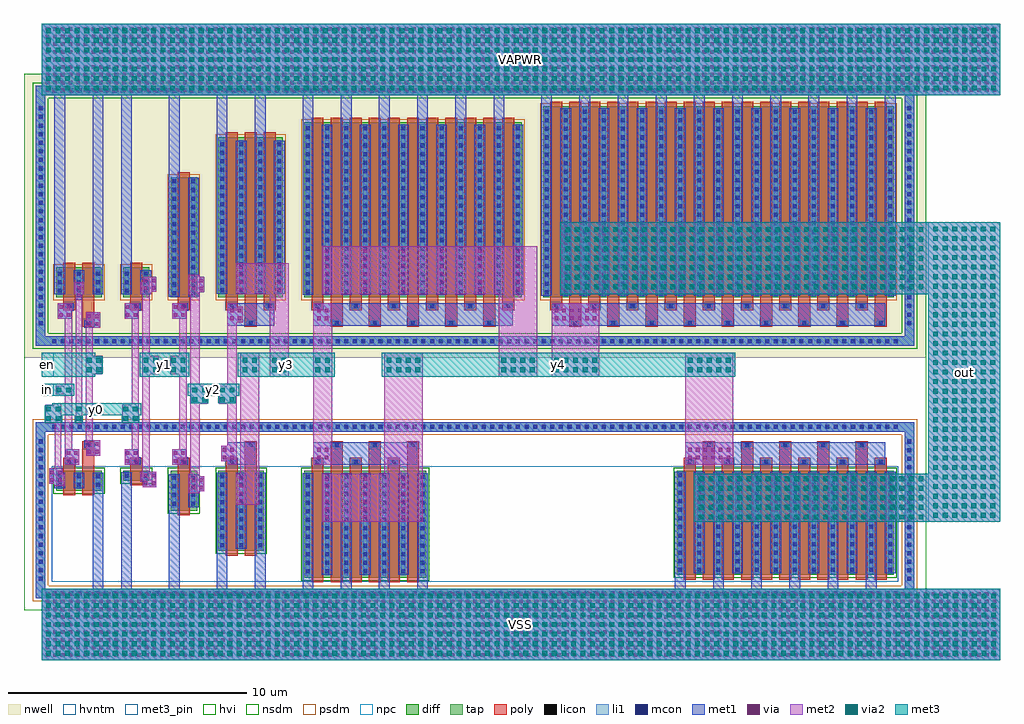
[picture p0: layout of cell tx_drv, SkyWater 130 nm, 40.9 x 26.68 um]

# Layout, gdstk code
import gdstk
lib = gdstk.Library(unit=1e-6, precision=1e-09)
def R(c, l, rs):  # rectangles x0, y0, x1, y1
    for r in rs: c.add(gdstk.rectangle(r[:2], r[2:], *l))
def A(c, l, x, y, w, h, nx, ny, dx, dy):  # array of equal rectangles
    R(c, l, [(x+i*dx, y+j*dy, x+i*dx+w, y+j*dy+h) for i in range(nx) for j in range(ny)])
def P(c, l, *ps):  # polygons
    for p in ps: c.add(gdstk.Polygon(p, *l))
nwell = (64, 20)
diff = (65, 20)
tap = (65, 44)
poly = (66, 20)
licon = (66, 44)
li1 = (67, 20)
mcon = (67, 44)
met1 = (68, 20)
via = (68, 44)
met2 = (69, 20)
via2 = (69, 44)
met3_pin = (70, 16)
met3 = (70, 20)
hvi = (75, 20)
nsdm = (93, 44)
psdm = (94, 20)
npc = (95, 20)
hvntm = (125, 20)

tx_drv = lib.new_cell('tx_drv')
R(tx_drv, nwell, [(-0.75,1.1,37.05,13), (0.135,2.05,2.965,5.43), (6.935,2.05,10.565,10.89), (10.535,2.05,20.565,11.5), (20.535,2.05,36.165,12.17), (2.935,2.75,4.965,5.43), (4.935,2.75,6.965,9.21)])
R(tx_drv, diff, [(11,-8.11,16.1,-3.63), (26.6,-7.995,35.7,-3.63), (7.4,-6.99,9.3,-3.63), (5.4,-5.31,6.5,-3.63), (0.6,-4.47,2.5,-3.63), (3.4,-4.05,4.5,-3.63), (0.6,3.63,2.5,4.89), (3.4,3.63,4.5,4.89), (5.4,3.63,6.5,8.67), (7.4,3.63,10.1,10.35), (11,3.63,20.1,10.96), (21,3.63,35.7,11.63)])
P(tx_drv, tap, [(-0.25,1.6),(-0.25,12.1),(0.15,12.1),(0.15,2),(36.15,2),(36.15,12.1),(-0.25,12.1),(-0.25,12.5),(36.55,12.5),(36.55,1.6)],
  [(-0.25,-8.98),(-0.25,-2),(0.15,-2),(0.15,-8.58),(36.15,-8.58),(36.15,-2),(-0.25,-2),(-0.25,-1.6),(36.55,-1.6),(36.55,-8.98)])
A(tx_drv, poly, 11.3, -8.31, 0.5, 4.88, 3, 1, 1.6, 0)
A(tx_drv, poly, 12.1, -8.31, 0.5, 5.58, 3, 1, 1.6, 0)
A(tx_drv, poly, 26.9, -8.195, 0.5, 4.765, 6, 1, 1.6, 0)
A(tx_drv, poly, 27.7, -8.195, 0.5, 5.465, 5, 1, 1.6, 0)
A(tx_drv, poly, 3.7, -3.43, 0.5, 0.33, 3, 2, 2, 6.53)
A(tx_drv, poly, 11.3, -3.43, 0.5, 0.33, 3, 1, 1.6, 0)
A(tx_drv, poly, 26.9, -3.43, 0.5, 0.33, 6, 1, 1.6, 0)
A(tx_drv, poly, 12.1, -2.73, 0.5, 0.33, 3, 1, 1.6, 0)
A(tx_drv, poly, 27.7, -2.73, 0.5, 0.33, 5, 1, 1.6, 0)
A(tx_drv, poly, 12.1, 2.4, 0.5, 0.33, 5, 1, 1.6, 0)
A(tx_drv, poly, 22.1, 2.4, 0.5, 0.33, 9, 1, 1.6, 0)
A(tx_drv, poly, 12.1, 2.73, 0.5, 8.43, 5, 1, 1.6, 0)
A(tx_drv, poly, 22.1, 2.73, 0.5, 9.1, 9, 1, 1.6, 0)
A(tx_drv, poly, 11.3, 3.1, 0.5, 0.33, 6, 1, 1.6, 0)
A(tx_drv, poly, 21.3, 3.1, 0.5, 0.33, 9, 1, 1.6, 0)
A(tx_drv, poly, 11.3, 3.43, 0.5, 7.73, 6, 1, 1.6, 0)
A(tx_drv, poly, 21.3, 3.43, 0.5, 8.4, 9, 1, 1.6, 0)
R(tx_drv, poly, [(7.7,-7.19,8.2,-3.43), (8.5,-7.19,9,-2.73), (5.7,-5.51,6.2,-3.43), (0.9,-4.67,1.4,-3.43), (1.7,-4.67,2.2,-2.73), (3.7,-4.25,4.2,-3.43), (0.9,-3.43,1.4,-3.1), (1.7,-2.73,2.2,-2.4), (8.5,-2.73,9,-2.4), (1.7,2.4,2.2,2.73), (8.5,2.4,9,2.73), (1.7,2.73,2.2,5.09), (8.5,2.73,9,10.55), (0.9,3.1,1.4,3.43), (9.3,3.1,9.8,3.43), (0.9,3.43,1.4,5.09), (3.7,3.43,4.2,5.09), (5.7,3.43,6.2,8.87), (7.7,3.43,8.2,10.55), (9.3,3.43,9.8,10.55)])
A(tx_drv, licon, 0.425, -8.865, 0.17, 0.17, 99, 2, 0.36, 6.98)
A(tx_drv, licon, -0.135, -8.255, 0.17, 0.17, 1, 17, 0, 0.36)
A(tx_drv, licon, 36.265, -8.255, 0.17, 0.17, 1, 17, 0, 0.36)
A(tx_drv, licon, 11.065, -7.935, 0.17, 0.17, 7, 12, 0.8, 0.36)
A(tx_drv, licon, 26.665, -7.875, 0.17, 0.17, 12, 12, 0.8, 0.36)
A(tx_drv, licon, 7.465, -6.835, 0.17, 0.17, 3, 9, 0.8, 0.36)
A(tx_drv, licon, 5.465, -5.095, 0.17, 0.17, 1, 4, 0, 0.36)
A(tx_drv, licon, 6.265, -5.095, 0.17, 0.17, 1, 4, 0, 0.36)
A(tx_drv, licon, 0.665, -4.315, 0.17, 0.17, 3, 2, 0.8, 0.36)
A(tx_drv, licon, 3.865, -3.35, 0.17, 0.17, 3, 2, 2, 6.53)
A(tx_drv, licon, 11.465, -3.35, 0.17, 0.17, 3, 1, 1.6, 0)
A(tx_drv, licon, 27.065, -3.35, 0.17, 0.17, 6, 1, 1.6, 0)
A(tx_drv, licon, 12.265, -2.65, 0.17, 0.17, 3, 1, 1.6, 0)
A(tx_drv, licon, 27.865, -2.65, 0.17, 0.17, 5, 1, 1.6, 0)
A(tx_drv, licon, 0.425, 1.715, 0.17, 0.17, 99, 2, 0.36, 10.5)
A(tx_drv, licon, -0.135, 2.465, 0.17, 0.17, 1, 26, 0, 0.36)
A(tx_drv, licon, 36.265, 2.465, 0.17, 0.17, 1, 26, 0, 0.36)
A(tx_drv, licon, 12.265, 2.48, 0.17, 0.17, 5, 1, 1.6, 0)
A(tx_drv, licon, 22.265, 2.48, 0.17, 0.17, 9, 1, 1.6, 0)
A(tx_drv, licon, 11.465, 3.18, 0.17, 0.17, 6, 1, 1.6, 0)
A(tx_drv, licon, 21.465, 3.18, 0.17, 0.17, 9, 1, 1.6, 0)
A(tx_drv, licon, 5.465, 3.725, 0.17, 0.17, 1, 14, 0, 0.36)
A(tx_drv, licon, 6.265, 3.725, 0.17, 0.17, 1, 14, 0, 0.36)
A(tx_drv, licon, 21.065, 3.765, 0.17, 0.17, 19, 22, 0.8, 0.36)
A(tx_drv, licon, 11.065, 3.79, 0.17, 0.17, 12, 20, 0.8, 0.36)
A(tx_drv, licon, 0.665, 3.815, 0.17, 0.17, 3, 3, 0.8, 0.36)
A(tx_drv, licon, 3.465, 3.815, 0.17, 0.17, 1, 3, 0, 0.36)
A(tx_drv, licon, 4.265, 3.815, 0.17, 0.17, 1, 3, 0, 0.36)
A(tx_drv, licon, 7.465, 3.845, 0.17, 0.17, 4, 18, 0.8, 0.36)
R(tx_drv, licon, [(3.465,-3.925,3.635,-3.755), (4.265,-3.925,4.435,-3.755), (1.065,-3.35,1.235,-3.18), (1.865,-2.65,2.035,-2.48), (8.665,-2.65,8.835,-2.48), (1.865,2.48,2.035,2.65), (8.665,2.48,8.835,2.65), (1.065,3.18,1.235,3.35), (9.465,3.18,9.635,3.35)])
A(tx_drv, li1, 11.065, -8.015, 0.17, 4.29, 7, 1, 0.8, 0)
A(tx_drv, li1, 26.665, -7.955, 0.17, 4.29, 12, 1, 0.8, 0)
A(tx_drv, li1, 7.465, -6.915, 0.17, 3.21, 3, 1, 0.8, 0)
A(tx_drv, li1, 0.665, -4.395, 0.17, 0.69, 3, 1, 0.8, 0)
A(tx_drv, li1, 3.785, -3.35, 0.33, 0.17, 3, 2, 2, 6.53)
A(tx_drv, li1, 11.385, -3.35, 0.33, 0.17, 3, 1, 1.6, 0)
A(tx_drv, li1, 26.985, -3.35, 0.33, 0.17, 6, 1, 1.6, 0)
A(tx_drv, li1, 12.185, -2.65, 0.33, 0.17, 3, 1, 1.6, 0)
A(tx_drv, li1, 27.785, -2.65, 0.33, 0.17, 5, 1, 1.6, 0)
A(tx_drv, li1, 12.185, 2.48, 0.33, 0.17, 5, 1, 1.6, 0)
A(tx_drv, li1, 22.185, 2.48, 0.33, 0.17, 9, 1, 1.6, 0)
A(tx_drv, li1, 11.385, 3.18, 0.33, 0.17, 6, 1, 1.6, 0)
A(tx_drv, li1, 21.385, 3.18, 0.33, 0.17, 9, 1, 1.6, 0)
A(tx_drv, li1, 21.065, 3.685, 0.17, 7.89, 19, 1, 0.8, 0)
A(tx_drv, li1, 11.065, 3.71, 0.17, 7.17, 12, 1, 0.8, 0)
A(tx_drv, li1, 0.665, 3.735, 0.17, 1.05, 3, 1, 0.8, 0)
A(tx_drv, li1, 7.465, 3.765, 0.17, 6.45, 4, 1, 0.8, 0)
R(tx_drv, li1, [(5.465,-5.175,5.635,-3.765), (6.265,-5.175,6.435,-3.765), (3.465,-4.005,3.635,-3.675), (4.265,-4.005,4.435,-3.675), (0.985,-3.35,1.315,-3.18), (1.785,-2.65,2.115,-2.48), (8.585,-2.65,8.915,-2.48), (1.785,2.48,2.115,2.65), (8.585,2.48,8.915,2.65), (0.985,3.18,1.315,3.35), (9.385,3.18,9.715,3.35), (5.465,3.645,5.635,8.655), (6.265,3.645,6.435,8.655), (3.465,3.735,3.635,4.785), (4.265,3.735,4.435,4.785)])
P(tx_drv, li1, [(-0.25,1.6),(-0.25,12.1),(0.15,12.1),(0.15,2),(36.15,2),(36.15,12.1),(-0.25,12.1),(-0.25,12.5),(36.55,12.5),(36.55,1.6)],
  [(-0.25,-8.98),(-0.25,-2),(0.15,-2),(0.15,-8.58),(36.15,-8.58),(36.15,-2),(-0.25,-2),(-0.25,-1.6),(36.55,-1.6),(36.55,-8.98)])
A(tx_drv, mcon, 0.425, -8.865, 0.17, 0.17, 99, 2, 0.36, 6.98)
A(tx_drv, mcon, -0.135, -8.255, 0.17, 0.17, 1, 17, 0, 0.36)
A(tx_drv, mcon, 36.265, -8.255, 0.17, 0.17, 1, 17, 0, 0.36)
A(tx_drv, mcon, 11.065, -7.935, 0.17, 0.17, 7, 12, 0.8, 0.36)
A(tx_drv, mcon, 26.665, -7.875, 0.17, 0.17, 12, 12, 0.8, 0.36)
A(tx_drv, mcon, 7.465, -6.835, 0.17, 0.17, 3, 9, 0.8, 0.36)
A(tx_drv, mcon, 5.465, -5.095, 0.17, 0.17, 1, 4, 0, 0.36)
A(tx_drv, mcon, 6.265, -5.095, 0.17, 0.17, 1, 4, 0, 0.36)
A(tx_drv, mcon, 0.665, -4.315, 0.17, 0.17, 3, 2, 0.8, 0.36)
A(tx_drv, mcon, 3.865, -3.35, 0.17, 0.17, 3, 2, 2, 6.53)
A(tx_drv, mcon, 11.465, -3.35, 0.17, 0.17, 3, 1, 1.6, 0)
A(tx_drv, mcon, 27.065, -3.35, 0.17, 0.17, 6, 1, 1.6, 0)
A(tx_drv, mcon, 12.265, -2.65, 0.17, 0.17, 3, 1, 1.6, 0)
A(tx_drv, mcon, 27.865, -2.65, 0.17, 0.17, 5, 1, 1.6, 0)
A(tx_drv, mcon, 0.425, 1.715, 0.17, 0.17, 99, 2, 0.36, 10.5)
A(tx_drv, mcon, -0.135, 2.465, 0.17, 0.17, 1, 26, 0, 0.36)
A(tx_drv, mcon, 36.265, 2.465, 0.17, 0.17, 1, 26, 0, 0.36)
A(tx_drv, mcon, 12.265, 2.48, 0.17, 0.17, 5, 1, 1.6, 0)
A(tx_drv, mcon, 22.265, 2.48, 0.17, 0.17, 9, 1, 1.6, 0)
A(tx_drv, mcon, 11.465, 3.18, 0.17, 0.17, 6, 1, 1.6, 0)
A(tx_drv, mcon, 21.465, 3.18, 0.17, 0.17, 9, 1, 1.6, 0)
A(tx_drv, mcon, 5.465, 3.725, 0.17, 0.17, 1, 14, 0, 0.36)
A(tx_drv, mcon, 6.265, 3.725, 0.17, 0.17, 1, 14, 0, 0.36)
A(tx_drv, mcon, 21.065, 3.765, 0.17, 0.17, 19, 22, 0.8, 0.36)
A(tx_drv, mcon, 11.065, 3.79, 0.17, 0.17, 12, 20, 0.8, 0.36)
A(tx_drv, mcon, 0.665, 3.815, 0.17, 0.17, 3, 3, 0.8, 0.36)
A(tx_drv, mcon, 3.465, 3.815, 0.17, 0.17, 1, 3, 0, 0.36)
A(tx_drv, mcon, 4.265, 3.815, 0.17, 0.17, 1, 3, 0, 0.36)
A(tx_drv, mcon, 7.465, 3.845, 0.17, 0.17, 4, 18, 0.8, 0.36)
R(tx_drv, mcon, [(3.465,-3.925,3.635,-3.755), (4.265,-3.925,4.435,-3.755), (1.065,-3.35,1.235,-3.18), (1.865,-2.65,2.035,-2.48), (8.665,-2.65,8.835,-2.48), (1.865,2.48,2.035,2.65), (8.665,2.48,8.835,2.65), (1.065,3.18,1.235,3.35), (9.465,3.18,9.635,3.35)])
A(tx_drv, met1, 10.925, -8.98, 0.45, 5.235, 4, 1, 1.6, 0)
A(tx_drv, met1, 26.525, -8.98, 0.45, 5.295, 6, 1, 1.6, 0)
A(tx_drv, met1, 11.035, -7.995, 0.23, 4.25, 7, 1, 0.8, 0)
A(tx_drv, met1, 11.725, -7.995, 0.45, 4.25, 3, 1, 1.6, 0)
A(tx_drv, met1, 26.635, -7.935, 0.23, 4.25, 12, 1, 0.8, 0)
A(tx_drv, met1, 27.325, -7.935, 0.45, 4.25, 6, 1, 1.6, 0)
A(tx_drv, met1, 7.435, -6.895, 0.23, 3.17, 3, 1, 0.8, 0)
A(tx_drv, met1, 0.635, -4.375, 0.23, 0.65, 3, 1, 0.8, 0)
A(tx_drv, met1, 3.765, -3.38, 0.37, 0.23, 3, 2, 2, 6.53)
A(tx_drv, met1, 11.365, -3.38, 0.37, 0.23, 3, 1, 1.6, 0)
A(tx_drv, met1, 26.965, -3.38, 0.37, 0.23, 6, 1, 1.6, 0)
A(tx_drv, met1, 12.165, -2.68, 0.37, 0.23, 3, 1, 1.6, 0)
A(tx_drv, met1, 27.765, -2.68, 0.37, 0.23, 5, 1, 1.6, 0)
A(tx_drv, met1, 12.165, 2.45, 0.37, 0.23, 5, 1, 1.6, 0)
A(tx_drv, met1, 22.165, 2.45, 0.37, 0.23, 9, 1, 1.6, 0)
A(tx_drv, met1, 11.365, 3.15, 0.37, 0.23, 6, 1, 1.6, 0)
A(tx_drv, met1, 21.365, 3.15, 0.37, 0.23, 9, 1, 1.6, 0)
A(tx_drv, met1, 20.925, 3.705, 0.45, 8.795, 10, 1, 1.6, 0)
A(tx_drv, met1, 21.035, 3.705, 0.23, 7.85, 19, 1, 0.8, 0)
A(tx_drv, met1, 21.725, 3.705, 0.45, 7.85, 9, 1, 1.6, 0)
A(tx_drv, met1, 10.925, 3.73, 0.45, 8.77, 6, 1, 1.6, 0)
A(tx_drv, met1, 11.035, 3.73, 0.23, 7.13, 12, 1, 0.8, 0)
A(tx_drv, met1, 11.725, 3.73, 0.45, 7.13, 6, 1, 1.6, 0)
A(tx_drv, met1, 0.635, 3.755, 0.23, 1.01, 3, 1, 0.8, 0)
A(tx_drv, met1, 7.435, 3.785, 0.23, 6.41, 4, 1, 0.8, 0)
R(tx_drv, met1, [(0,-11.58,40.15,-8.58), (2.125,-8.98,2.575,-3.725), (3.325,-8.98,3.775,-3.695), (5.325,-8.98,5.775,-3.785), (7.325,-8.98,7.775,-3.725), (8.925,-8.98,9.375,-3.725), (8.125,-6.895,8.575,-3.725), (5.435,-5.155,5.665,-3.785), (6.125,-5.155,6.575,-3.785), (6.235,-5.155,6.465,-3.785), (6.575,-4.5,6.8,-3.86), (0.525,-4.375,0.975,-3.725), (1.325,-4.375,1.775,-3.725), (4.125,-4,4.575,-3.68), (3.405,-3.985,3.695,-3.695), (4.125,-3.985,4.575,-3.695), (4.205,-3.985,4.495,-3.695), (0.965,-3.38,1.335,-3.15), (0.965,-3.38,1.335,-3.06), (3.765,-3.38,4.135,-3.06), (5.765,-3.38,6.135,-3.06), (7.765,-3.38,8.935,-2.45), (11.365,-3.38,15.735,-2.45), (26.965,-3.38,35.335,-2.45), (7.515,-3.235,7.765,-2.595), (1.765,-2.68,2.135,-2.45), (1.765,-2.68,2.135,-2.36), (8.565,-2.68,8.935,-2.45), (1.765,2.36,2.135,2.68), (1.765,2.45,2.135,2.68), (7.765,2.45,9.735,3.38), (8.565,2.45,8.935,2.68), (11.365,2.45,19.735,3.38), (21.365,2.45,35.335,3.38), (0.965,3.06,1.335,3.38), (3.765,3.06,4.135,3.38), (5.765,3.06,6.135,3.38), (0.965,3.15,1.335,3.38), (9.365,3.15,9.735,3.38), (1.42,3.54,1.68,3.755), (5.325,3.665,5.775,12.5), (5.435,3.665,5.665,8.635), (6.125,3.665,6.575,8.635), (6.235,3.665,6.465,8.635), (0.525,3.755,0.975,12.5), (1.325,3.755,1.775,4.765), (2.125,3.755,2.575,12.5), (3.325,3.755,3.775,12.5), (3.435,3.755,3.665,4.765), (4.125,3.755,4.575,4.765), (4.235,3.755,4.465,4.765), (7.325,3.785,7.775,12.5), (8.125,3.785,8.575,10.195), (8.925,3.785,9.375,12.5), (9.725,3.785,10.175,10.195), (6.575,3.85,6.8,4.49), (4.575,3.86,4.8,4.5), (0,12.1,40.15,15.1)])
P(tx_drv, met1, [(-0.25,1.6),(-0.25,12.1),(0.15,12.1),(0.15,2),(36.15,2),(36.15,12.1),(-0.25,12.1),(-0.25,12.5),(36.55,12.5),(36.55,1.6)],
  [(-0.25,-8.98),(-0.25,-2),(0.15,-2),(0.15,-8.58),(36.15,-8.58),(36.15,-2),(-0.25,-2),(-0.25,-1.6),(36.55,-1.6),(36.55,-8.98)],
  [(0.3,-4.18),(0.3,-3.54),(0.88,-3.54),(0.88,-3.725),(0.525,-3.725),(0.525,-4.18)],
  [(4.22,-4.32),(4.22,-4),(4.575,-4),(4.575,-3.68),(4.8,-3.68),(4.8,-4.32)],
  [(1.335,-3.38),(1.335,-3.06),(0.985,-3.06),(0.985,-2.74),(1.565,-2.74),(1.565,-3.38)],
  [(3.465,-3.38),(3.465,-2.74),(4.045,-2.74),(4.045,-3.06),(3.765,-3.06),(3.765,-3.38)],
  [(5.465,-3.38),(5.465,-2.74),(6.045,-2.74),(6.045,-3.06),(5.765,-3.06),(5.765,-3.38)],
  [(1.855,-3),(1.855,-2.68),(2.135,-2.68),(2.135,-2.36),(2.435,-2.36),(2.435,-3)],
  [(2.135,2.36),(2.135,2.68),(1.855,2.68),(1.855,3),(2.435,3),(2.435,2.36)],
  [(0.665,2.74),(0.665,3.38),(0.965,3.38),(0.965,3.06),(1.245,3.06),(1.245,2.74)],
  [(3.465,2.74),(3.465,3.38),(3.765,3.38),(3.765,3.06),(4.045,3.06),(4.045,2.74)],
  [(5.465,2.74),(5.465,3.38),(5.765,3.38),(5.765,3.06),(6.045,3.06),(6.045,2.74)])
A(tx_drv, via, 0.16, -11.435, 0.15, 0.15, 125, 9, 0.32, 0.32)
A(tx_drv, via, 11.875, -5.645, 0.15, 0.15, 3, 6, 1.6, 0.32)
A(tx_drv, via, 27.475, -5.645, 0.15, 0.15, 6, 6, 1.6, 0.32)
A(tx_drv, via, 8.275, -4.975, 0.15, 0.15, 1, 4, 0, 0.32)
A(tx_drv, via, 27.09, -3.15, 0.15, 0.15, 6, 2, 0.32, 0.32)
A(tx_drv, via, 21.49, 2.68, 0.15, 0.15, 6, 2, 0.32, 0.32)
A(tx_drv, via, 8.275, 3.875, 0.15, 0.15, 1, 4, 0, 0.32)
A(tx_drv, via, 9.875, 3.875, 0.15, 0.15, 1, 4, 0, 0.32)
A(tx_drv, via, 11.875, 3.895, 0.15, 0.15, 6, 6, 1.6, 0.32)
A(tx_drv, via, 21.875, 3.915, 0.15, 0.15, 9, 9, 1.6, 0.32)
A(tx_drv, via, 0.16, 12.245, 0.15, 0.15, 125, 9, 0.32, 0.32)
R(tx_drv, via, [(6.275,-4.415,6.425,-4.265), (6.595,-4.415,6.745,-4.265), (4.275,-4.235,4.425,-4.085), (4.595,-4.235,4.745,-4.085), (0.355,-4.095,0.505,-3.945), (0.675,-4.095,0.825,-3.945), (6.275,-4.095,6.425,-3.945), (6.595,-4.095,6.745,-3.945), (4.275,-3.915,4.425,-3.765), (4.595,-3.915,4.745,-3.765), (0.355,-3.775,0.505,-3.625), (0.675,-3.775,0.825,-3.625), (1.04,-3.295,1.19,-3.145), (1.36,-3.295,1.51,-3.145), (3.52,-3.295,3.67,-3.145), (3.84,-3.295,3.99,-3.145), (5.52,-3.295,5.67,-3.145), (5.84,-3.295,5.99,-3.145), (7.57,-3.15,7.72,-3), (7.89,-3.15,8.04,-3), (11.53,-3.15,11.68,-3), (11.85,-3.15,12,-3), (1.04,-2.975,1.19,-2.825), (1.36,-2.975,1.51,-2.825), (3.52,-2.975,3.67,-2.825), (3.84,-2.975,3.99,-2.825), (5.52,-2.975,5.67,-2.825), (5.84,-2.975,5.99,-2.825), (1.91,-2.915,2.06,-2.765), (2.23,-2.915,2.38,-2.765), (7.57,-2.83,7.72,-2.68), (7.89,-2.83,8.04,-2.68), (11.53,-2.83,11.68,-2.68), (11.85,-2.83,12,-2.68), (1.91,-2.595,2.06,-2.445), (2.23,-2.595,2.38,-2.445), (1.91,2.445,2.06,2.595), (2.23,2.445,2.38,2.595), (7.89,2.68,8.04,2.83), (8.21,2.68,8.36,2.83), (11.53,2.68,11.68,2.83), (11.85,2.68,12,2.83), (1.91,2.765,2.06,2.915), (2.23,2.765,2.38,2.915), (0.72,2.825,0.87,2.975), (1.04,2.825,1.19,2.975), (3.52,2.825,3.67,2.975), (3.84,2.825,3.99,2.975), (5.52,2.825,5.67,2.975), (5.84,2.825,5.99,2.975), (7.89,3,8.04,3.15), (8.21,3,8.36,3.15), (11.53,3,11.68,3.15), (11.85,3,12,3.15), (0.72,3.145,0.87,3.295), (1.04,3.145,1.19,3.295), (3.52,3.145,3.67,3.295), (3.84,3.145,3.99,3.295), (5.52,3.145,5.67,3.295), (5.84,3.145,5.99,3.295), (1.475,3.625,1.625,3.775), (6.275,3.935,6.425,4.085), (6.595,3.935,6.745,4.085), (1.475,3.945,1.625,4.095), (4.275,3.945,4.425,4.095), (4.595,3.945,4.745,4.095), (6.275,4.255,6.425,4.405), (6.595,4.255,6.745,4.405), (4.275,4.265,4.425,4.415), (4.595,4.265,4.745,4.415)])
R(tx_drv, met2, [(0,-11.58,40.15,-8.58), (11.725,-5.77,15.95,-3.77), (27.325,-5.77,37.15,-3.77), (37.15,-5.77,40.15,6.77), (8.125,-5.07,9.11,-3.77), (6.125,-4.57,6.61,-3.77), (6.61,-4.5,6.8,-3.86), (0.525,-4.27,0.975,-3.77), (4.125,-4.09,4.575,-3.68), (0.54,-3.77,0.82,-0.8), (0.82,-3.77,0.88,-3.54), (6.21,-3.77,6.61,0), (8.31,-3.77,9.11,1.3), (14.35,-3.77,15.95,1.3), (4.21,-3.68,4.51,1.3), (0.965,-3.38,1.265,0), (1.265,-3.38,1.565,-2.74), (3.465,-3.38,3.765,-2.74), (3.765,-3.38,4.065,-0.8), (5.465,-3.38,5.765,-2.74), (5.765,-3.38,6.065,1.3), (7.765,-3.38,8.165,0), (11.365,-3.38,12.165,1.3), (26.965,-3.38,28.965,1.3), (7.515,-3.235,7.765,-2.595), (1.835,-2.68,2.135,1.3), (0.14,-1.635,0.54,-0.865), (1.41,-1.635,1.69,-1.3), (3.375,-1.635,3.765,-0.865), (1.41,-1.3,1.69,3.77), (3.765,-1.3,4.065,3.38), (6.61,-0.835,6.95,-0.065), (7.425,-0.835,7.765,-0.065), (0.965,-0.5,1.265,3.38), (6.21,-0.5,6.61,3.77), (7.765,-0.5,8.165,3.38), (0.575,-0.435,0.965,-0.065), (1.835,0.3,2.135,2.68), (4.21,0.3,4.51,3.77), (5.765,0.3,6.065,3.38), (9.55,0.3,10.35,3.77), (11.365,0.3,12.165,3.38), (19.15,0.3,20.75,3.77), (21.365,0.3,23.365,3.38), (2.135,0.415,2.525,1.185), (4.51,0.415,4.9,1.185), (5.375,0.415,5.765,1.185), (8.165,2.595,8.415,3.235), (0.665,2.74,0.965,3.38), (3.465,2.74,3.765,3.38), (5.465,2.74,5.765,3.38), (1.325,3.77,1.775,4.27), (4.125,3.77,4.575,4.27), (6.125,3.77,6.61,4.57), (8.125,3.77,10.35,5.07), (11.725,3.77,20.75,5.77), (21.725,3.77,37.15,6.77), (6.61,3.85,6.8,4.49), (0,12.1,40.15,15.1)])
P(tx_drv, met2, [(0.3,-4.18),(0.3,-3.54),(0.54,-3.54),(0.54,-3.77),(0.525,-3.77),(0.525,-4.18)],
  [(4.22,-4.32),(4.22,-4.09),(4.575,-4.09),(4.575,-3.68),(4.8,-3.68),(4.8,-4.32)],
  [(1.855,-3),(1.855,-2.68),(2.135,-2.68),(2.135,-2.36),(2.435,-2.36),(2.435,-3)],
  [(2.135,2.36),(2.135,2.68),(1.855,2.68),(1.855,3),(2.435,3),(2.435,2.36)],
  [(4.575,3.86),(4.575,4.27),(4.22,4.27),(4.22,4.5),(4.8,4.5),(4.8,3.86)])
A(tx_drv, via2, 0.175, -11.38, 0.2, 0.2, 100, 7, 0.4, 0.4)
A(tx_drv, via2, 27.535, -5.67, 0.2, 0.2, 24, 5, 0.4, 0.4)
A(tx_drv, via2, 37.35, -5.6, 0.2, 0.2, 7, 31, 0.4, 0.4)
A(tx_drv, via2, 14.45, 0.5, 0.2, 0.2, 4, 2, 0.4, 0.4)
A(tx_drv, via2, 19.25, 0.5, 0.2, 0.2, 4, 2, 0.4, 0.4)
A(tx_drv, via2, 21.465, 0.5, 0.2, 0.2, 5, 2, 0.4, 0.4)
A(tx_drv, via2, 27.065, 0.5, 0.2, 0.2, 5, 2, 0.4, 0.4)
A(tx_drv, via2, 21.94, 3.97, 0.2, 0.2, 38, 7, 0.4, 0.4)
A(tx_drv, via2, 0.175, 12.3, 0.2, 0.2, 100, 7, 0.4, 0.4)
R(tx_drv, via2, [(0.18,-1.55,0.38,-1.35), (0.58,-1.55,0.78,-1.35), (1.45,-1.55,1.65,-1.35), (3.415,-1.55,3.615,-1.35), (3.815,-1.55,4.015,-1.35), (0.18,-1.15,0.38,-0.95), (0.58,-1.15,0.78,-0.95), (1.45,-1.15,1.65,-0.95), (3.415,-1.15,3.615,-0.95), (3.815,-1.15,4.015,-0.95), (3.815,-1.15,4.015,-0.95), (6.31,-0.75,6.51,-0.55), (6.71,-0.75,6.91,-0.55), (7.465,-0.75,7.665,-0.55), (7.865,-0.75,8.065,-0.55), (0.615,-0.35,0.815,-0.15), (1.015,-0.35,1.215,-0.15), (1.015,-0.35,1.215,-0.15), (6.31,-0.35,6.51,-0.15), (6.31,-0.35,6.51,-0.15), (6.71,-0.35,6.91,-0.15), (7.465,-0.35,7.665,-0.15), (7.865,-0.35,8.065,-0.15), (7.865,-0.35,8.065,-0.15), (1.885,0.5,2.085,0.7), (1.885,0.5,2.085,0.7), (2.285,0.5,2.485,0.7), (4.26,0.5,4.46,0.7), (4.26,0.5,4.46,0.7), (4.66,0.5,4.86,0.7), (5.415,0.5,5.615,0.7), (5.815,0.5,6.015,0.7), (5.815,0.5,6.015,0.7), (8.41,0.5,8.61,0.7), (8.81,0.5,9.01,0.7), (9.65,0.5,9.85,0.7), (10.05,0.5,10.25,0.7), (11.465,0.5,11.665,0.7), (11.465,0.5,11.665,0.7), (11.865,0.5,12.065,0.7), (11.865,0.5,12.065,0.7), (1.885,0.9,2.085,1.1), (1.885,0.9,2.085,1.1), (2.285,0.9,2.485,1.1), (4.26,0.9,4.46,1.1), (4.26,0.9,4.46,1.1), (4.66,0.9,4.86,1.1), (5.415,0.9,5.615,1.1), (5.815,0.9,6.015,1.1), (5.815,0.9,6.015,1.1), (8.41,0.9,8.61,1.1), (8.81,0.9,9.01,1.1), (9.65,0.9,9.85,1.1), (10.05,0.9,10.25,1.1), (11.465,0.9,11.665,1.1), (11.465,0.9,11.665,1.1), (11.865,0.9,12.065,1.1), (11.865,0.9,12.065,1.1)])
R(tx_drv, met3_pin, [(0,-11.58,40.15,-8.58), (37.15,-5.77,40.15,6.77), (0,-0.5,0.5,0), (0,0.3,0.5,1.3), (0,12.1,40.15,15.1)])
R(tx_drv, met3, [(0,-11.58,40.15,-8.58), (27.325,-5.77,37.15,-3.77), (37.15,-5.77,40.15,6.77), (1.385,-1.615,1.715,-1.3), (3.35,-1.615,4.08,-1.3), (0.44,-1.3,4.165,-0.8), (6.245,-0.815,6.975,-0.5), (7.4,-0.815,8.13,-0.5), (0,-0.5,1.365,0), (6.11,-0.5,8.265,0), (0,0.3,2.235,1.3), (4.11,0.3,6.165,1.3), (8.21,0.3,12.265,1.3), (14.25,0.3,29.065,1.3), (2.235,0.435,2.55,1.165), (21.725,3.77,37.15,6.77), (0,12.1,40.15,15.1)])
P(tx_drv, met3, [(0.115,-1.615),(0.115,-0.885),(0.44,-0.885),(0.44,-1.3),(0.845,-1.3),(0.845,-1.615)])
R(tx_drv, hvi, [(-0.75,-9.48,37.05,13), (10.63,-8.495,16.47,-2.205), (26.23,-8.38,36.07,-2.205), (7.03,-7.375,9.67,-2.205), (5.03,-5.695,6.87,-2.905), (0.23,-4.855,2.87,-2.205), (3.03,-4.435,4.87,-2.905), (0.135,2.05,2.965,5.43), (6.935,2.05,10.565,10.89), (10.535,2.05,20.565,11.5), (20.535,2.05,36.165,12.17), (2.935,2.75,4.965,5.43), (4.935,2.75,6.965,9.21)])
R(tx_drv, nsdm, [(10.875,-8.235,16.225,-3.505), (26.475,-8.12,35.825,-3.505), (7.275,-7.115,9.425,-3.505), (5.275,-5.435,6.625,-3.505), (0.475,-4.595,2.625,-3.505), (3.275,-4.175,4.625,-3.505)])
P(tx_drv, nsdm, [(-0.375,1.475),(-0.375,11.975),(0.275,11.975),(0.275,2.125),(36.025,2.125),(36.025,11.975),(-0.375,11.975),(-0.375,12.625),(36.675,12.625),(36.675,1.475)])
R(tx_drv, psdm, [(0.475,3.505,2.625,5.015), (3.275,3.505,4.625,5.015), (5.275,3.505,6.625,8.795), (7.275,3.505,10.225,10.475), (10.875,3.505,20.225,11.085), (20.875,3.505,35.825,11.755)])
P(tx_drv, psdm, [(-0.375,-9.105),(-0.375,-2.125),(0.275,-2.125),(0.275,-8.455),(36.025,-8.455),(36.025,-2.125),(-0.375,-2.125),(-0.375,-1.475),(36.675,-1.475),(36.675,-9.105)])
A(tx_drv, npc, 3.69, -3.44, 0.52, 0.35, 3, 2, 2, 6.53)
A(tx_drv, npc, 11.29, -3.44, 0.52, 0.35, 3, 1, 1.6, 0)
A(tx_drv, npc, 26.89, -3.44, 0.52, 0.35, 6, 1, 1.6, 0)
A(tx_drv, npc, 12.09, -2.74, 0.52, 0.35, 3, 1, 1.6, 0)
A(tx_drv, npc, 27.69, -2.74, 0.52, 0.35, 5, 1, 1.6, 0)
A(tx_drv, npc, 12.09, 2.39, 0.52, 0.35, 5, 1, 1.6, 0)
A(tx_drv, npc, 22.09, 2.39, 0.52, 0.35, 9, 1, 1.6, 0)
A(tx_drv, npc, 11.29, 3.09, 0.52, 0.35, 6, 1, 1.6, 0)
A(tx_drv, npc, 21.29, 3.09, 0.52, 0.35, 9, 1, 1.6, 0)
R(tx_drv, npc, [(0.89,-3.44,1.41,-3.09), (1.69,-2.74,2.21,-2.39), (8.49,-2.74,9.01,-2.39), (1.69,2.39,2.21,2.74), (8.49,2.39,9.01,2.74), (0.89,3.09,1.41,3.44), (9.29,3.09,9.81,3.44)])
R(tx_drv, hvntm, [(0.415,-8.295,35.885,-3.445), (10.815,-8.295,16.285,-3.445), (26.415,-8.18,35.885,-3.445), (7.215,-7.175,9.485,-3.445), (5.215,-5.495,6.685,-3.445), (0.415,-4.655,2.685,-3.445), (3.215,-4.235,4.685,-3.445)])
tx_drv.add(gdstk.Label('VAPWR', (20.075,13.6), layer=70, texttype=5))
tx_drv.add(gdstk.Label('VSS', (20.075,-10.08), layer=70, texttype=5))
tx_drv.add(gdstk.Label('en', (0.25,0.8), layer=70, texttype=5))
tx_drv.add(gdstk.Label('y1', (5.138,0.8), layer=70, texttype=5))
tx_drv.add(gdstk.Label('y3', (10.238,0.8), layer=70, texttype=5))
tx_drv.add(gdstk.Label('y4', (21.658,0.8), layer=70, texttype=5))
tx_drv.add(gdstk.Label('in', (0.25,-0.25), layer=70, texttype=5))
tx_drv.add(gdstk.Label('y2', (7.188,-0.25), layer=70, texttype=5))
tx_drv.add(gdstk.Label('y0', (2.303,-1.05), layer=70, texttype=5))
tx_drv.add(gdstk.Label('out', (38.65,0.5), layer=70, texttype=5))

lib.write_gds('tx_drv.gds')
